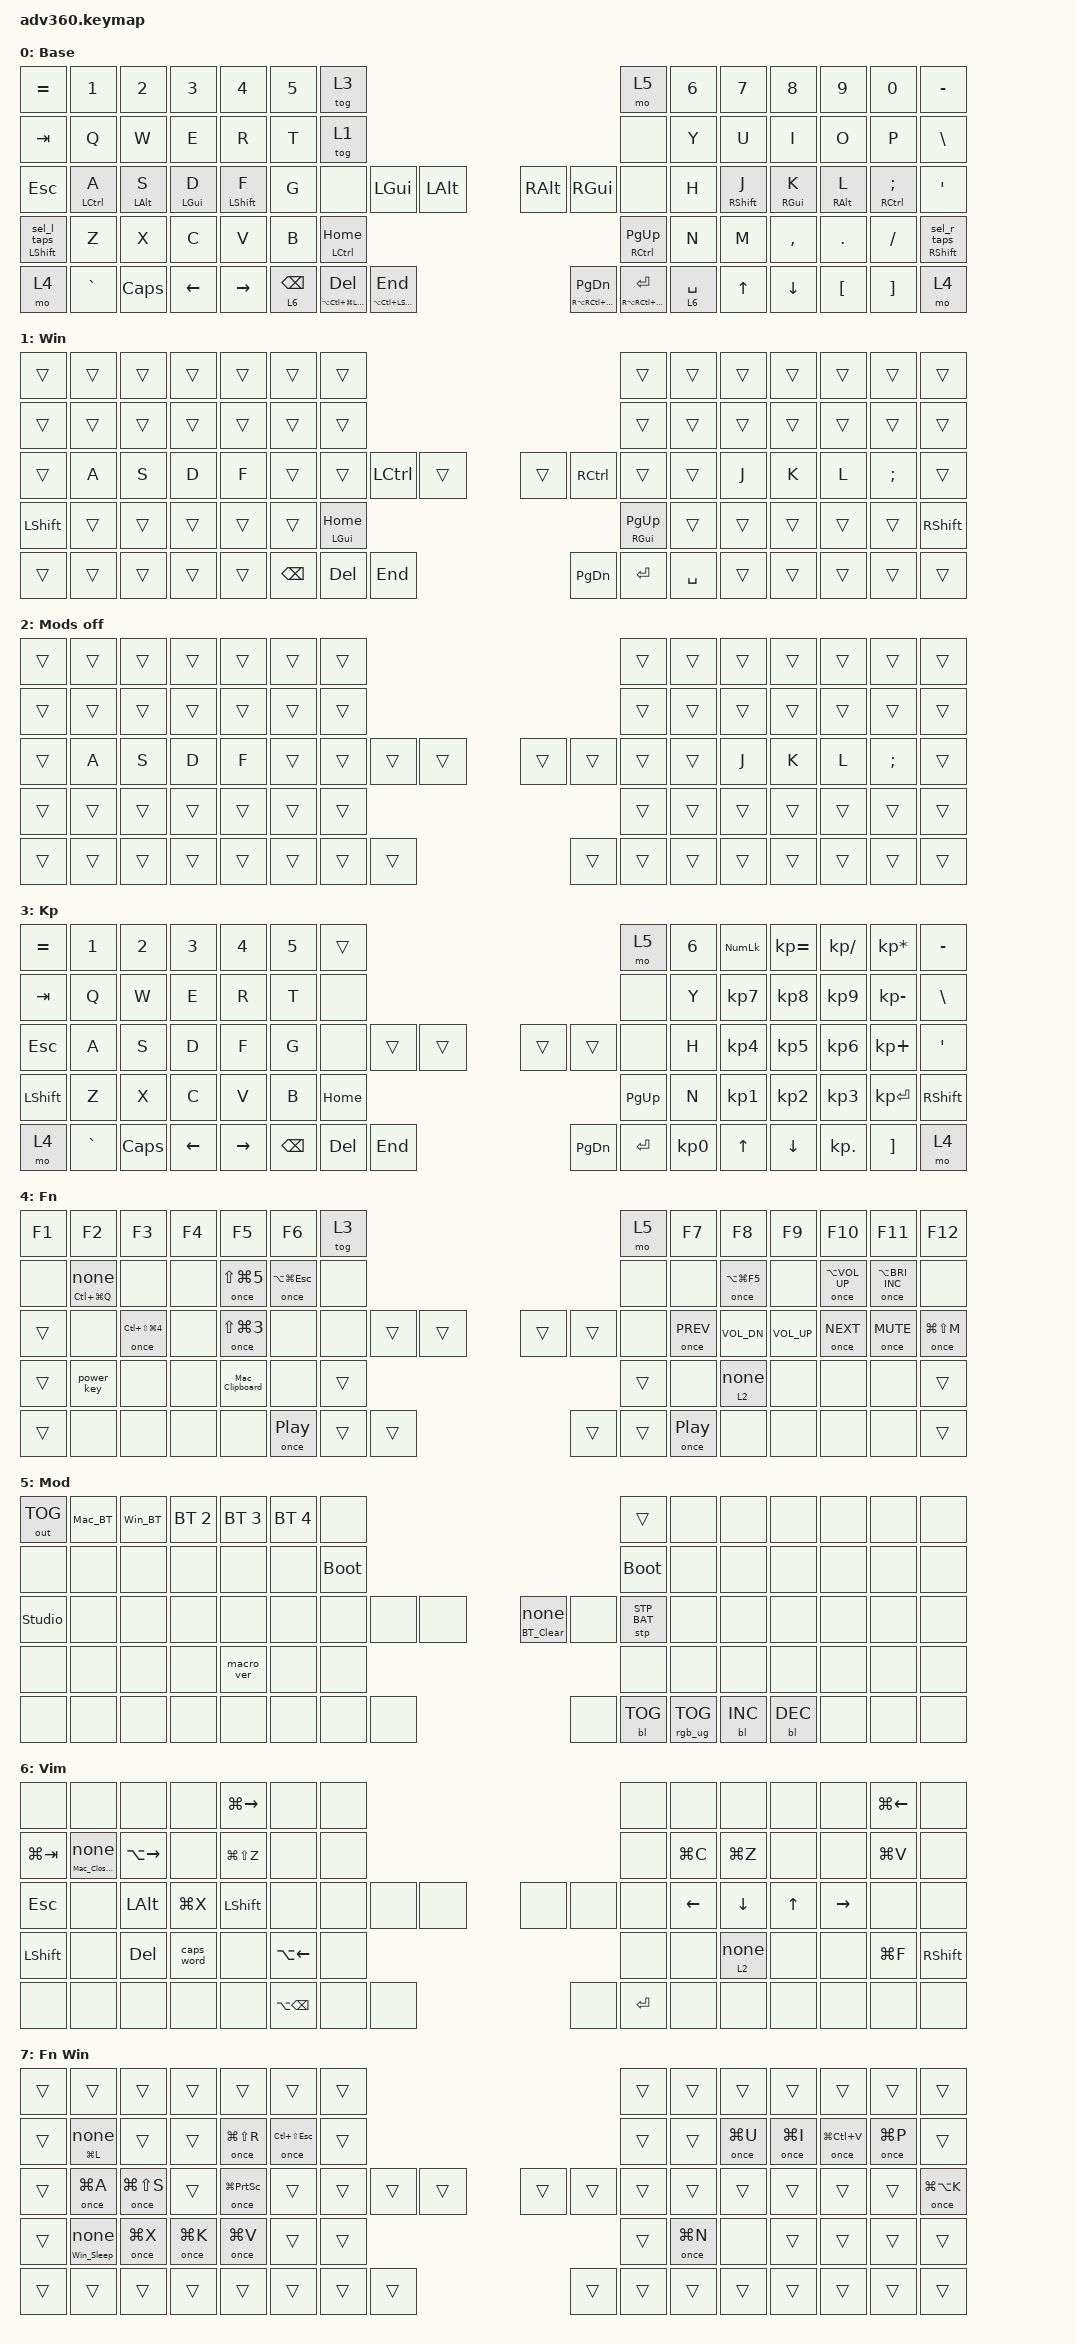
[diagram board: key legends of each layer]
#include <dt-bindings/zmk/stp.h>
#include <behaviors.dtsi>
#include <dt-bindings/zmk/backlight.h>
#include <dt-bindings/zmk/bt.h>
#include <dt-bindings/zmk/keys.h>
#include <dt-bindings/zmk/outputs.h>
#include <dt-bindings/zmk/rgb.h>

/ {
    behaviors {
        #include "macros.dtsi"
      #include "version.dtsi"

        mtb: mtb {
            compatible = "zmk,behavior-hold-tap";
            label = "Mod Tab Balanced";
            bindings = <&kp>, <&kp>;

            #binding-cells = <2>;
            tapping-term-ms = <200>;
            flavor = "balanced";
            quick-tap-ms = <200>;
            require-prior-idle-ms = <150>;
            retro-tap;
        };

        hm_l: hm_l {
            compatible = "zmk,behavior-hold-tap";
            display-name = "Home-row mod L";
            bindings = <&kp>, <&kp>;

            #binding-cells = <2>;
            flavor = "balanced";
            tapping-term-ms = <200>;
            quick-tap-ms = <200>;
            require-prior-idle-ms = <150>;
            // Right-hand keys, then thumb keys, then = and the left/right arrows (0 63 64),
            // which count for the left-hand mods too, as in kanata. See assets/key-positions.md.
            hold-trigger-key-positions = <
                7 8 9 10 11 12 13 21 22 23 24 25 26 27 39 40 41 42 43 44 45 54 55 56 57 58 59 71 72 73 74 75
                35 36 52 65 66 67 37 38 53 68 69 70
                0 63 64
            >;
            hold-trigger-on-release;
        };

        hm_l_slow: hm_l_slow {
            compatible = "zmk,behavior-hold-tap";
            display-name = "Home-row mod L slow";
            bindings = <&kp>, <&kp>;

            #binding-cells = <2>;
            flavor = "balanced";
            tapping-term-ms = <500>;
            quick-tap-ms = <200>;
            require-prior-idle-ms = <250>;
            hold-trigger-key-positions = <
                7 8 9 10 11 12 13 21 22 23 24 25 26 27 39 40 41 42 43 44 45 54 55 56 57 58 59 71 72 73 74 75
                35 36 52 65 66 67 37 38 53 68 69 70
                0 63 64
            >;
            hold-trigger-on-release;
            retro-tap;
        };

        hm_r: hm_r {
            compatible = "zmk,behavior-hold-tap";
            display-name = "Home-row mod R";
            bindings = <&kp>, <&kp>;

            #binding-cells = <2>;
            flavor = "balanced";
            tapping-term-ms = <200>;
            quick-tap-ms = <200>;
            require-prior-idle-ms = <150>;
            // Left-hand keys, then thumb keys. See assets/key-positions.md.
            hold-trigger-key-positions = <
                0 1 2 3 4 5 6 14 15 16 17 18 19 20 28 29 30 31 32 33 34 46 47 48 49 50 51 60 61 62 63 64
                35 36 52 65 66 67 37 38 53 68 69 70
            >;
            hold-trigger-on-release;
        };

        hm_r_slow: hm_r_slow {
            compatible = "zmk,behavior-hold-tap";
            display-name = "Home-row mod R slow";
            bindings = <&kp>, <&kp>;

            #binding-cells = <2>;
            flavor = "balanced";
            tapping-term-ms = <500>;
            quick-tap-ms = <200>;
            require-prior-idle-ms = <250>;
            hold-trigger-key-positions = <
                0 1 2 3 4 5 6 14 15 16 17 18 19 20 28 29 30 31 32 33 34 46 47 48 49 50 51 60 61 62 63 64
                35 36 52 65 66 67 37 38 53 68 69 70
            >;
            hold-trigger-on-release;
            retro-tap;
        };

        vim_bspc: vim_bspc {
            compatible = "zmk,behavior-hold-tap";
            display-name = "Backspace / Vim";
            bindings = <&mo>, <&kp>;

            #binding-cells = <2>;
            flavor = "balanced";
            tapping-term-ms = <200>;
            quick-tap-ms = <200>;
            require-prior-idle-ms = <150>;
            retro-tap;
        };

        vim_space: vim_space {
            compatible = "zmk,behavior-hold-tap";
            display-name = "Space / Vim";
            bindings = <&mo>, <&kp>;

            #binding-cells = <2>;
            flavor = "balanced";
            tapping-term-ms = <200>;
            require-prior-idle-ms = <150>;
            retro-tap;
        };

        shift_sel_l: shift_sel_l {
            compatible = "zmk,behavior-hold-tap";
            display-name = "Shift / select left";
            bindings = <&kp>, <&sel_l_taps>;

            #binding-cells = <2>;
            flavor = "hold-preferred";
            tapping-term-ms = <200>;
        };

        shift_sel_r: shift_sel_r {
            compatible = "zmk,behavior-hold-tap";
            display-name = "Shift / select right";
            bindings = <&kp>, <&sel_r_taps>;

            #binding-cells = <2>;
            flavor = "hold-preferred";
            tapping-term-ms = <200>;
        };

        // shift_sel_* hand a tap over only when Shift is let go, but the tap-dance
        // window is timed from the press: 300 ms leaves about 200 ms between presses.
        sel_l_taps: sel_l_taps {
            compatible = "zmk,behavior-tap-dance";
            display-name = "Select left taps";
            #binding-cells = <0>;
            tapping-term-ms = <300>;
            bindings = <&none>, <&kp LA(LS(LEFT))>, <&kp LG(LS(LEFT))>, <&kp LG(LS(UP))>;
        };

        sel_r_taps: sel_r_taps {
            compatible = "zmk,behavior-tap-dance";
            display-name = "Select right taps";
            #binding-cells = <0>;
            tapping-term-ms = <300>;
            bindings = <&none>, <&kp LA(LS(RIGHT))>, <&kp LG(LS(RIGHT))>, <&kp LG(LS(DOWN))>;
        };

        mods_toggle: mods_toggle {
            compatible = "zmk,behavior-hold-tap";
            display-name = "Home-row mods off/on";
            bindings = <&tog>, <&none>;

            #binding-cells = <2>;
            flavor = "tap-preferred";
            tapping-term-ms = <350>;
        };

        quit_app: quit_app {
            compatible = "zmk,behavior-hold-tap";
            display-name = "Hold to quit app";
            bindings = <&Mac_Close_Program>, <&none>;

            #binding-cells = <2>;
            flavor = "tap-preferred";
            tapping-term-ms = <350>;
        };

        clear_bt: clear_bt {
            compatible = "zmk,behavior-hold-tap";
            display-name = "Hold to clear BT profile";
            bindings = <&BT_Clear>, <&none>;

            #binding-cells = <2>;
            flavor = "tap-preferred";
            tapping-term-ms = <1000>;
        };

        // Taps its key or shortcut once, however long the key is held, like kanata's once
        // template. A held shortcut would repeat: a panel would open and close again.
        // It takes a parameter, so it sits here rather than in macros.dtsi, next to the
        // other behaviors with parameters.
        once: once {
            compatible = "zmk,behavior-macro-one-param";
            display-name = "Tap once";
            #binding-cells = <1>;
            bindings = <&macro_param_1to1>, <&kp MACRO_PLACEHOLDER>;
        };

        hold_once: hold_once {
            compatible = "zmk,behavior-hold-tap";
            display-name = "Hold to tap once";
            bindings = <&once>, <&none>;

            #binding-cells = <2>;
            flavor = "tap-preferred";
            tapping-term-ms = <350>;
        };

        sleep_pc: sleep_pc {
            compatible = "zmk,behavior-hold-tap";
            display-name = "Hold to sleep (Windows)";
            bindings = <&Win_Sleep>, <&none>;

            #binding-cells = <2>;
            flavor = "tap-preferred";
            tapping-term-ms = <350>;
        };

        // macOS ignores quick presses of the power key. Ctrl+Cmd+power restarts the Mac
        // without saving, so with Ctrl or Cmd held the key does nothing.
        power_key: power_key {
            compatible = "zmk,behavior-mod-morph";
            display-name = "Power (not with Ctrl or Cmd)";
            #binding-cells = <0>;
            bindings = <&kp C_POWER>, <&none>;

            mods = <(MOD_LCTL|MOD_RCTL|MOD_LGUI|MOD_RGUI)>;
        };
    };

    // Win and ModsOff sit below keypad, fn and mod, so those layers work the same on Mac and Windows.
    // The exception is fn's system keys: on Windows, FnWin replaces the Mac shortcuts.
    keymap {
        compatible = "zmk,keymap";

        Mac {
            display-name = "Base";
            bindings = <
&kp EQUAL  &kp N1     &kp N2    &kp N3    &kp N4     &kp N5  &tog 3                                                                                                                                               &mo 5      &kp N6  &kp N7  &kp N8     &kp N9    &kp N0    &kp MINUS
&kp TAB    &kp Q      &kp W     &kp E     &kp R      &kp T   &tog 1                                                                                                                                               &none      &kp Y   &kp U   &kp I      &kp O     &kp P     &kp BSLH
&kp ESC    &hm_l_slow LCTRL A  &hm_l_slow LALT S  &hm_l LGUI D  &hm_l LSHFT F  &kp G  &none  &kp LGUI        &kp LALT                         &kp RALT                        &kp RGUI                            &none      &kp H   &hm_r RSHFT J  &hm_r RGUI K  &hm_r_slow RALT L  &hm_r_slow RCTRL SEMI  &kp SQT
&shift_sel_l LSHFT 0  &kp Z  &kp X  &kp C  &kp V     &kp B                                                   &mt LCTRL HOME                   &mt RCTRL PG_UP                                                                &kp N   &kp M   &kp COMMA  &kp DOT   &kp FSLH  &shift_sel_r RSHFT 0
&mo 4      &kp GRAVE  &kp CAPS  &kp LEFT  &kp RIGHT          &vim_bspc 6 BACKSPACE  &mtb LA(LC(LG(LEFT_SHIFT))) DEL  &mtb LA(LC(LEFT_SHIFT)) END  &mtb RA(RC(RIGHT_SHIFT)) PG_DN  &mtb RA(RC(RG(RIGHT_SHIFT))) ENTER  &vim_space 6 SPACE  &kp UP  &kp DOWN  &kp LBKT  &kp RBKT  &mo 4
            >;
        };

        Win {
            display-name = "Win";
            bindings = <
&trans  &trans  &trans  &trans  &trans  &trans  &trans                                                             &trans  &trans  &trans  &trans  &trans  &trans  &trans
&trans  &trans  &trans  &trans  &trans  &trans  &trans                                                             &trans  &trans  &trans  &trans  &trans  &trans  &trans
&trans  &kp A   &kp S   &kp D   &kp F   &trans  &trans  &kp LCTRL  &trans             &trans            &kp RCTRL  &trans  &trans  &kp J   &kp K   &kp L   &kp SEMI  &trans
&kp LSHFT  &trans  &trans  &trans  &trans  &trans                  &mt LGUI HOME      &mt RGUI PAGE_UP                     &trans  &trans  &trans  &trans  &trans  &kp RSHFT
&trans  &trans  &trans  &trans  &trans          &kp BACKSPACE  &kp DEL  &kp END       &kp PG_DN         &kp ENTER  &kp SPACE       &trans  &trans  &trans  &trans  &trans
            >;
        };

        ModsOff {
            display-name = "Mods off";
            bindings = <
&trans  &trans  &trans  &trans  &trans  &trans  &trans                                  &trans  &trans  &trans  &trans  &trans  &trans    &trans
&trans  &trans  &trans  &trans  &trans  &trans  &trans                                  &trans  &trans  &trans  &trans  &trans  &trans    &trans
&trans  &kp A   &kp S   &kp D   &kp F   &trans  &trans  &trans  &trans  &trans  &trans  &trans  &trans  &kp J   &kp K   &kp L   &kp SEMI  &trans
&trans  &trans  &trans  &trans  &trans  &trans                  &trans  &trans                  &trans  &trans  &trans  &trans  &trans    &trans
&trans  &trans  &trans  &trans  &trans          &trans  &trans  &trans  &trans  &trans  &trans          &trans  &trans  &trans  &trans    &trans
            >;
        };

        keypad {
            display-name = "Kp";
            bindings = <
&kp EQUAL  &kp N1     &kp N2    &kp N3    &kp N4     &kp N5  &trans                                                   &mo 5      &kp N6  &kp KP_NUM  &kp KP_EQUAL  &kp KP_DIVIDE  &kp KP_MULTIPLY  &kp MINUS
&kp TAB    &kp Q      &kp W     &kp E     &kp R      &kp T   &none                                                    &none      &kp Y   &kp KP_N7   &kp KP_N8     &kp KP_N9      &kp KP_MINUS     &kp BSLH
&kp ESC    &kp A      &kp S     &kp D     &kp F      &kp G   &none     &trans     &trans        &trans     &trans     &none      &kp H   &kp KP_N4   &kp KP_N5     &kp KP_N6      &kp KP_PLUS      &kp SQT
&kp LSHFT  &kp Z      &kp X     &kp C     &kp V      &kp B                        &kp HOME      &kp PG_UP                        &kp N   &kp KP_N1   &kp KP_N2     &kp KP_N3      &kp KP_ENTER     &kp RSHFT
&mo 4      &kp GRAVE  &kp CAPS  &kp LEFT  &kp RIGHT          &kp BSPC  &kp DEL    &kp END       &kp PG_DN  &kp ENTER  &kp KP_N0          &kp UP      &kp DOWN      &kp KP_DOT     &kp RBKT         &mo 4
            >;
        };

        fn {
            display-name = "Fn";
            bindings = <
&kp F1  &kp F2                  &kp F3                &kp F4  &kp F5            &kp F6             &tog 3                                                          &mo 5  &kp F7        &kp F8            &kp F9        &kp F10             &kp F11              &kp F12
&none   &hold_once LC(LG(Q)) 0  &none                 &none   &once LS(LG(N5))  &once LA(LG(ESC))  &none                                                           &none  &none         &once LA(LG(F5))  &none         &once LA(C_VOL_UP)  &once LA(C_BRI_INC)  &none
&trans  &none                   &once LC(LS(LG(N4)))  &none   &once LS(LG(N3))  &none              &none               &trans  &trans  &trans  &trans              &none  &once C_PREV  &kp C_VOL_DN      &kp C_VOL_UP  &once C_NEXT        &once C_MUTE         &once LG(LS(M))
&trans  &power_key              &none                 &none   &Mac_Clipboard    &none                                          &trans  &trans                             &none         &mods_toggle 2 0  &none         &none               &none                &trans
&trans  &none                   &none                 &none   &none                                        &once C_PP  &trans  &trans  &trans  &trans  &once C_PP                       &none             &none         &none               &none                &trans
            >;
        };

        mod {
            display-name = "Mod";
            bindings = <
&out OUT_TOG    &Mac_BT       &Win_BT       &bt BT_SEL 2  &bt BT_SEL 3  &bt BT_SEL 4  &none                                                  &trans           &none  &none       &none       &none  &none  &none
&none           &none         &none         &none         &none         &none         &bootloader                                            &bootloader      &none  &none       &none       &none  &none  &none
&studio_unlock  &none         &none         &none         &none         &none         &none        &none  &none      &clear_bt 0 0  &none    &stp STP_BAT     &none  &none       &none       &none  &none  &none
&none           &none         &none         &none         &macro_ver    &none                             &none      &none                                    &none  &none       &none       &none  &none  &none
&none           &none         &none         &none         &none                       &none        &none  &none      &none       &bl BL_TOG  &rgb_ug RGB_TOG         &bl BL_INC  &bl BL_DEC  &none  &none  &none
            >;
        };

        Vim {
            display-name = "Vim";
            bindings = <
&none        &none          &none          &none       &kp LG(RIGHT)  &none         &none                                         &none  &none      &none             &none   &none      &kp LG(LEFT)  &none
&kp LG(TAB)  &quit_app 0 0  &kp LA(RIGHT)  &none       &kp LG(LS(Z))  &none         &none                                         &none  &kp LG(C)  &kp LG(Z)         &none   &none      &kp LG(V)     &none
&kp ESC      &none          &kp LALT       &kp LG(X)   &kp LSHFT      &none         &none         &none  &none  &none  &none      &none  &kp LEFT   &kp DOWN          &kp UP  &kp RIGHT  &none         &none
&kp LSHFT    &none          &kp DEL        &caps_word  &none          &kp LA(LEFT)                       &none  &none                    &none      &mods_toggle 2 0  &none   &none      &kp LG(F)     &kp RSHFT
&none        &none          &none          &none       &none                        &kp LA(BSPC)  &none  &none  &none  &kp ENTER  &none             &none             &none   &none      &none         &none
            >;
        };

        FnWin {
            display-name = "Fn Win";
            bindings = <
&trans  &trans              &trans           &trans       &trans           &trans             &trans                                                  &trans  &trans       &trans       &trans       &trans           &trans       &trans
&trans  &hold_once LG(L) 0  &trans           &trans       &once LG(LS(R))  &once LC(LS(ESC))  &trans                                                  &trans  &trans       &once LG(U)  &once LG(I)  &once LG(LC(V))  &once LG(P)  &trans
&trans  &once LG(A)         &once LG(LS(S))  &trans       &once LG(PSCRN)  &trans             &trans          &trans  &trans  &trans  &trans          &trans  &trans       &trans       &trans       &trans           &trans       &once LG(LA(K))
&trans  &sleep_pc 0 0       &once LG(X)      &once LG(K)  &once LG(V)      &trans                                     &trans  &trans                          &once LG(N)  &none        &trans       &trans           &trans       &trans
&trans  &trans              &trans           &trans       &trans                                      &trans  &trans  &trans  &trans  &trans  &trans                       &trans       &trans       &trans           &trans       &trans
            >;
        };
    };

    conditional_layers {
        compatible = "zmk,conditional-layers";

        fn_on_win {
            if-layers = <1 4>;
            then-layer = <7>;
        };
    };
};
